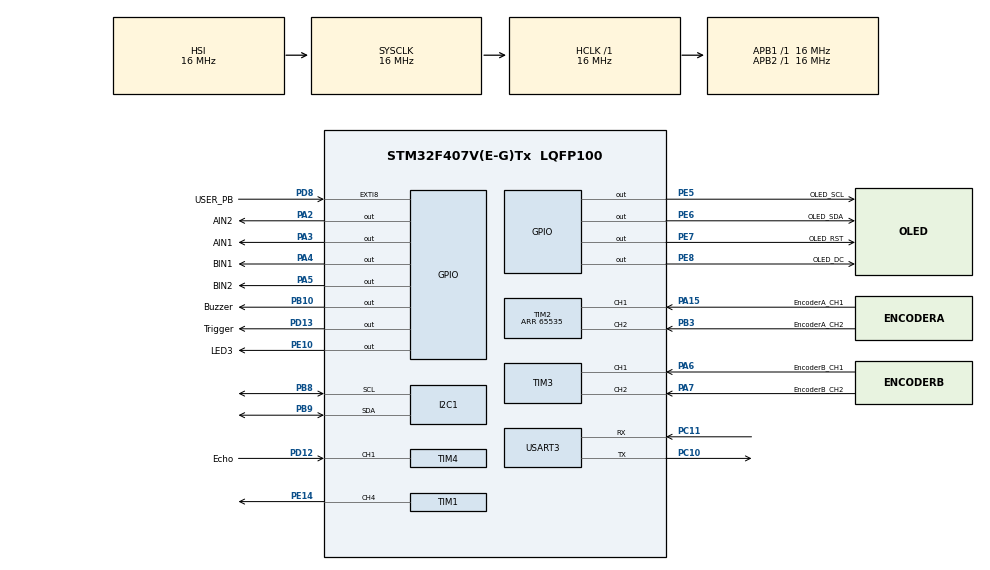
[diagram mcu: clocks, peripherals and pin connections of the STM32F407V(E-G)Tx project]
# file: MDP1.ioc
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FREERTOS.Tasks01=defaultTask,24,128,StartDefaultTask,Default,NULL,Dynamic,NULL,NULL;motorTask,8,128,StartMotorTask,Default,NULL,Dynamic,NULL,NULL;OLEDTask,8,128,StartOLEDTask,Default,NULL,Dynamic,NULL,NULL;gyroTask,8,128,StartGyroTask,Default,NULL,Dynamic,NULL,NULL;communicateTask,8,128,StartCommunicateTask,Default,NULL,Dynamic,NULL,NULL;encoderRTask,8,128,StartEncoderRTask,Default,NULL,Dynamic,NULL,NULL;encoderLTask,8,128,StartEncoderLTask,Default,NULL,Dynamic,NULL,NULL;testATask,8,128,TestTask,Default,NULL,Dynamic,NULL,NULL
FREERTOS.configUSE_NEWLIB_REENTRANT=1
Mcu.Family=STM32F4
Mcu.Name=STM32F407V(E-G)Tx
Mcu.Package=LQFP100
NVIC.PriorityGroup=NVIC_PRIORITYGROUP_4
NVIC.RCC_IRQn=true\:5\:0\:false\:false\:true\:true\:true\:false\:true
NVIC.TIM1_BRK_TIM9_IRQn=true\:5\:0\:false\:false\:true\:false\:true\:true\:true
NVIC.TIM1_UP_TIM10_IRQn=true\:5\:0\:false\:false\:true\:false\:true\:true\:true
NVIC.TIM4_IRQn=true\:5\:0\:false\:false\:true\:true\:true\:true\:true
NVIC.TIM8_TRG_COM_TIM14_IRQn=true\:5\:0\:false\:false\:true\:false\:true\:true\:true
NVIC.USART3_IRQn=true\:5\:0\:false\:false\:true\:true\:true\:true\:true
PA15.GPIO_Label=EncoderA_CH1
PA15.Signal=S_TIM2_CH1_ETR
PA2.GPIO_Label=AIN2
PA2.GPIO_Speed=GPIO_SPEED_FREQ_HIGH
PA2.PinState=GPIO_PIN_RESET
PA2.Signal=GPIO_Output
PA3.GPIO_Label=AIN1
PA3.GPIO_Speed=GPIO_SPEED_FREQ_HIGH
PA3.Signal=GPIO_Output
PA4.GPIO_Label=BIN1
PA4.GPIO_Speed=GPIO_SPEED_FREQ_HIGH
PA4.Signal=GPIO_Output
PA5.GPIO_Label=BIN2
PA5.GPIO_Speed=GPIO_SPEED_FREQ_HIGH
PA5.Signal=GPIO_Output
PA6.GPIO_Label=EncoderB_CH1
PA6.Signal=S_TIM3_CH1
PA7.GPIO_Label=EncoderB_CH2
PA7.Signal=S_TIM3_CH2
PB10.GPIO_Label=Buzzer
PB10.Signal=GPIO_Output
PB3.GPIO_Label=EncoderA_CH2
PB3.Signal=S_TIM2_CH2
PB8.Mode=I2C
PB8.Signal=I2C1_SCL
PB9.Mode=I2C
PB9.Signal=I2C1_SDA
PC10.Mode=Asynchronous
PC10.Signal=USART3_TX
PC11.Mode=Asynchronous
PC11.Signal=USART3_RX
PC6.GPIO_Label=PWMA
PC6.Signal=S_TIM8_CH1
PC7.GPIO_Label=PWMB
PC7.Signal=S_TIM8_CH2
PD12.GPIO_Label=Echo
PD12.Signal=S_TIM4_CH1
PD13.GPIO_Label=Trigger
PD13.Signal=GPIO_Output
PD8.GPIO_Label=USER_PB
PD8.Signal=GPXTI8
PE10.GPIO_Label=LED3
PE10.Signal=GPIO_Output
PE14.Signal=S_TIM1_CH4
PE5.GPIO_Label=OLED_SCL
PE5.Signal=GPIO_Output
PE6.GPIO_Label=OLED_SDA
PE6.Signal=GPIO_Output
PE7.GPIO_Label=OLED_RST
PE7.Signal=GPIO_Output
PE8.GPIO_Label=OLED_DC
PE8.Signal=GPIO_Output
PH0-OSC_IN.Mode=HSE-External-Oscillator
PH0-OSC_IN.Signal=RCC_OSC_IN
PH1-OSC_OUT.Mode=HSE-External-Oscillator
PH1-OSC_OUT.Signal=RCC_OSC_OUT
ProjectManager.HeapSize=0x200
ProjectManager.StackSize=0x400
ProjectManager.TargetToolchain=STM32CubeIDE
RCC.AHBFreq_Value=16000000
RCC.APB1Freq_Value=16000000
RCC.APB2Freq_Value=16000000
RCC.CortexFreq_Value=16000000
RCC.HSE_VALUE=25000000
RCC.HSI_VALUE=16000000
RCC.LSE_VALUE=32768
RCC.SYSCLKFreq_VALUE=16000000
RCC.VCOOutputFreq_Value=192000000
SH.S_TIM1_CH4.0=TIM1_CH4,PWM Generation4 CH4
SH.S_TIM2_CH1_ETR.0=TIM2_CH1,Encoder_Interface
SH.S_TIM2_CH2.0=TIM2_CH2,Encoder_Interface
SH.S_TIM3_CH1.0=TIM3_CH1,Encoder_Interface
SH.S_TIM3_CH2.0=TIM3_CH2,Encoder_Interface
SH.S_TIM4_CH1.0=TIM4_CH1,Input_Capture1_from_TI1
SH.S_TIM8_CH1.0=TIM8_CH1
SH.S_TIM8_CH2.0=TIM8_CH2
TIM1.AutoReloadPreload=TIM_AUTORELOAD_PRELOAD_ENABLE
TIM1.Channel-PWM\ Generation4\ CH4=TIM_CHANNEL_4
TIM1.Period=1000
TIM1.Prescaler=160
TIM2.EncoderMode=TIM_ENCODERMODE_TI12
TIM2.IC1Filter=10
TIM2.IC2Filter=10
TIM2.Period=65535
TIM3.EncoderMode=TIM_ENCODERMODE_TI12
TIM3.IC1Filter=10
TIM3.IC2Filter=10
TIM4.Channel-Input_Capture1_from_TI1=TIM_CHANNEL_1
TIM8.Channel-PWM\ Generation1\ No\ Output=TIM_CHANNEL_1
TIM8.Channel-PWM\ Generation2\ No\ Output=TIM_CHANNEL_2
TIM8.Period=7199
USART3.VirtualMode=VM_ASYNC
VP_FREERTOS_VS_CMSIS_V2.Mode=CMSIS_V2
VP_TIM1_VS_ClockSourceINT.Mode=Internal
VP_TIM8_VS_ClockSourceINT.Mode=Internal
VP_TIM8_VS_no_output1.Mode=PWM Generation1 No Output
VP_TIM8_VS_no_output2.Mode=PWM Generation2 No Output
board=custom

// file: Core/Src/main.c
/* USER CODE BEGIN Header */
/**
 ******************************************************************************
 * @file           : main.c
 * @brief          : Main program body
 ******************************************************************************
 * @attention
 *
 * Copyright (c) 2023 STMicroelectronics.
 * All rights reserved.
 *
 * This software is licensed under terms that can be found in the LICENSE file
 * in the root directory of this software component.
 * If no LICENSE file comes with this software, it is provided AS-IS.
 *
 ******************************************************************************
 */
/* USER CODE END Header */
#include "main.h"
#include "cmsis_os.h"

/* USER CODE BEGIN PD */
#define SERVOCENTER 150
#define SERVORIGHT 221
#define SERVOLEFT 103
/* USER CODE END PD */

I2C_HandleTypeDef hi2c1;

TIM_HandleTypeDef htim1;
TIM_HandleTypeDef htim2;
TIM_HandleTypeDef htim3;
TIM_HandleTypeDef htim4;
TIM_HandleTypeDef htim8;

UART_HandleTypeDef huart3;

/* Definitions for defaultTask */
osThreadId_t defaultTaskHandle;
const osThreadAttr_t defaultTask_attributes = {
		.name = "defaultTask",
		.stack_size = 128 * 4,
		.priority = (osPriority_t) osPriorityNormal,
};
/* Definitions for motorTask */
osThreadId_t motorTaskHandle;
const osThreadAttr_t motorTask_attributes = {
		.name = "motorTask",
		.stack_size = 128 * 4,
		.priority = (osPriority_t) osPriorityLow,
};
/* Definitions for OLEDTask */
osThreadId_t OLEDTaskHandle;
const osThreadAttr_t OLEDTask_attributes = {
		.name = "OLEDTask",
		.stack_size = 128 * 4,
		.priority = (osPriority_t) osPriorityLow,
};
/* Definitions for gyroTask */
osThreadId_t gyroTaskHandle;
const osThreadAttr_t gyroTask_attributes = {
		.name = "gyroTask",
		.stack_size = 128 * 4,
		.priority = (osPriority_t) osPriorityLow,
};
/* Definitions for communicateTask */
osThreadId_t communicateTaskHandle;
const osThreadAttr_t communicateTask_attributes = {
		.name = "communicateTask",
		.stack_size = 128 * 4,
		.priority = (osPriority_t) osPriorityLow,
};
/* Definitions for encoderRTask */
osThreadId_t encoderRTaskHandle;
const osThreadAttr_t encoderRTask_attributes = {
		.name = "encoderRTask",
		.stack_size = 128 * 4,
		.priority = (osPriority_t) osPriorityLow,
};
/* Definitions for encoderLTask */
osThreadId_t encoderLTaskHandle;
const osThreadAttr_t encoderLTask_attributes = {
		.name = "encoderLTask",
		.stack_size = 128 * 4,
		.priority = (osPriority_t) osPriorityLow,
};
/* Definitions for testATask */
osThreadId_t testATaskHandle;
const osThreadAttr_t testATask_attributes = {
		.name = "testATask",
		.stack_size = 128 * 4,
		.priority = (osPriority_t) osPriorityLow,
};

void SystemClock_Config(void);
static void MX_GPIO_Init(void);
static void MX_I2C1_Init(void);
static void MX_TIM1_Init(void);
static void MX_TIM2_Init(void);
static void MX_TIM3_Init(void);
static void MX_TIM4_Init(void);
static void MX_TIM8_Init(void);
static void MX_USART3_UART_Init(void);
void StartDefaultTask(void *argument);
void StartMotorTask(void *argument);
void StartOLEDTask(void *argument);
void StartGyroTask(void *argument);
void StartCommunicateTask(void *argument);
void StartEncoderRTask(void *argument);
void StartEncoderLTask(void *argument);
void TestTask(void *argument);

/* USER CODE BEGIN 0 */
// communication
uint8_t aRxBuffer[5] = { 0 };
int flagDone = 0;
int magnitude = 0;

// movement
uint16_t pwmVal_servo = SERVOCENTER;
uint16_t pwmVal_R = 0;
uint16_t pwmVal_L = 0;
int times_acceptable = 0;
int e_brake = 0;
//int stopped = 0;

// encoder
int32_t rightEncoderVal = 0, leftEncoderVal = 0;
int32_t rightTarget = 0, leftTarget = 0;
double target_angle = 0;

// gyro
double total_angle = 0;
uint8_t gyroBuffer[20];
uint8_t ICMAddress = 0x68;
double error_angle = 0;
// ultrasonic
int Is_First_Captured = 0;
int32_t IC_Val1 = 0;
int32_t IC_Val2 = 0;
uint16_t Difference = 0;
uint16_t uDistance = 0;
int k=0;
/* USER CODE END 0 */

int main(void)
{

	/* MCU Configuration--------------------------------------------------------*/

	/* Reset of all peripherals, Initializes the Flash interface and the Systick. */
	HAL_Init();

	/* Configure the system clock */
	SystemClock_Config();

	/* Initialize all configured peripherals */
	MX_GPIO_Init();
	MX_I2C1_Init();
	MX_TIM1_Init();
	MX_TIM2_Init();
	MX_TIM3_Init();
	MX_TIM4_Init();
	MX_TIM8_Init();
	MX_USART3_UART_Init();
	/* USER CODE BEGIN 2 */
	OLED_Init();
	HAL_UART_Receive_IT(&huart3, (uint8_t*) aRxBuffer, 5);
	/* USER CODE END 2 */

	/* Init scheduler */
	osKernelInitialize();

	/* Create the thread(s) */
	/* creation of defaultTask */
	defaultTaskHandle = osThreadNew(StartDefaultTask, NULL, &defaultTask_attributes);

	/* creation of motorTask */
	motorTaskHandle = osThreadNew(StartMotorTask, NULL, &motorTask_attributes);

	/* creation of OLEDTask */
	OLEDTaskHandle = osThreadNew(StartOLEDTask, NULL, &OLEDTask_attributes);

	/* creation of gyroTask */
	gyroTaskHandle = osThreadNew(StartGyroTask, NULL, &gyroTask_attributes);

	/* creation of communicateTask */
	communicateTaskHandle = osThreadNew(StartCommunicateTask, NULL, &communicateTask_attributes);

	/* creation of encoderRTask */
	encoderRTaskHandle = osThreadNew(StartEncoderRTask, NULL, &encoderRTask_attributes);

	/* creation of encoderLTask */
	encoderLTaskHandle = osThreadNew(StartEncoderLTask, NULL, &encoderLTask_attributes);

	/* creation of testATask */
	testATaskHandle = osThreadNew(TestTask, NULL, &testATask_attributes);

	/* Start scheduler */
	osKernelStart();

	/* We should never get here as control is now taken by the scheduler */
	/* Infinite loop */
	while (1) {

	}
}

void SystemClock_Config(void)
{
	RCC_OscInitTypeDef RCC_OscInitStruct = {0};
	RCC_ClkInitTypeDef RCC_ClkInitStruct = {0};

	/** Configure the main internal regulator output voltage
	 */
	__HAL_RCC_PWR_CLK_ENABLE();
	__HAL_PWR_VOLTAGESCALING_CONFIG(PWR_REGULATOR_VOLTAGE_SCALE1);

	/** Initializes the RCC Oscillators according to the specified parameters
	 * in the RCC_OscInitTypeDef structure.
	 */
	RCC_OscInitStruct.OscillatorType = RCC_OSCILLATORTYPE_HSI;
	RCC_OscInitStruct.HSIState = RCC_HSI_ON;
	RCC_OscInitStruct.HSICalibrationValue = RCC_HSICALIBRATION_DEFAULT;
	RCC_OscInitStruct.PLL.PLLState = RCC_PLL_NONE;
	if (HAL_RCC_OscConfig(&RCC_OscInitStruct) != HAL_OK)
	{
		Error_Handler();
	}

	/** Initializes the CPU, AHB and APB buses clocks
	 */
	RCC_ClkInitStruct.ClockType = RCC_CLOCKTYPE_HCLK|RCC_CLOCKTYPE_SYSCLK
			|RCC_CLOCKTYPE_PCLK1|RCC_CLOCKTYPE_PCLK2;
	RCC_ClkInitStruct.SYSCLKSource = RCC_SYSCLKSOURCE_HSI;
	RCC_ClkInitStruct.AHBCLKDivider = RCC_SYSCLK_DIV1;
	RCC_ClkInitStruct.APB1CLKDivider = RCC_HCLK_DIV1;
	RCC_ClkInitStruct.APB2CLKDivider = RCC_HCLK_DIV1;

	if (HAL_RCC_ClockConfig(&RCC_ClkInitStruct, FLASH_LATENCY_0) != HAL_OK)
	{
		Error_Handler();
	}
}

static void MX_I2C1_Init(void) //For Gyro
{

	hi2c1.Instance = I2C1;
	hi2c1.Init.ClockSpeed = 100000;
	hi2c1.Init.DutyCycle = I2C_DUTYCYCLE_2;
	hi2c1.Init.OwnAddress1 = 0;
	hi2c1.Init.AddressingMode = I2C_ADDRESSINGMODE_7BIT;
	hi2c1.Init.DualAddressMode = I2C_DUALADDRESS_DISABLE;
	hi2c1.Init.OwnAddress2 = 0;
	hi2c1.Init.GeneralCallMode = I2C_GENERALCALL_DISABLE;
	hi2c1.Init.NoStretchMode = I2C_NOSTRETCH_DISABLE;
	if (HAL_I2C_Init(&hi2c1) != HAL_OK)
	{
		Error_Handler();
	}

}

static void MX_TIM1_Init(void) // For Servo
{

	TIM_ClockConfigTypeDef sClockSourceConfig = {0};
	TIM_MasterConfigTypeDef sMasterConfig = {0};
	TIM_OC_InitTypeDef sConfigOC = {0};
	TIM_BreakDeadTimeConfigTypeDef sBreakDeadTimeConfig = {0};

	htim1.Instance = TIM1;
	htim1.Init.Prescaler = 160;
	htim1.Init.CounterMode = TIM_COUNTERMODE_UP;
	htim1.Init.Period = 1000;
	htim1.Init.ClockDivision = TIM_CLOCKDIVISION_DIV1;
	htim1.Init.RepetitionCounter = 0;
	htim1.Init.AutoReloadPreload = TIM_AUTORELOAD_PRELOAD_ENABLE;
	if (HAL_TIM_Base_Init(&htim1) != HAL_OK)
	{
		Error_Handler();
	}
	sClockSourceConfig.ClockSource = TIM_CLOCKSOURCE_INTERNAL;
	if (HAL_TIM_ConfigClockSource(&htim1, &sClockSourceConfig) != HAL_OK)
	{
		Error_Handler();
	}
	if (HAL_TIM_PWM_Init(&htim1) != HAL_OK)
	{
		Error_Handler();
	}
	sMasterConfig.MasterOutputTrigger = TIM_TRGO_RESET;
	sMasterConfig.MasterSlaveMode = TIM_MASTERSLAVEMODE_DISABLE;
	if (HAL_TIMEx_MasterConfigSynchronization(&htim1, &sMasterConfig) != HAL_OK)
	{
		Error_Handler();
	}
	sConfigOC.OCMode = TIM_OCMODE_PWM1;
	sConfigOC.Pulse = 0;
	sConfigOC.OCPolarity = TIM_OCPOLARITY_HIGH;
	sConfigOC.OCFastMode = TIM_OCFAST_DISABLE;
	sConfigOC.OCIdleState = TIM_OCIDLESTATE_RESET;
	sConfigOC.OCNIdleState = TIM_OCNIDLESTATE_RESET;
	if (HAL_TIM_PWM_ConfigChannel(&htim1, &sConfigOC, TIM_CHANNEL_4) != HAL_OK)
	{
		Error_Handler();
	}
	sBreakDeadTimeConfig.OffStateRunMode = TIM_OSSR_DISABLE;
	sBreakDeadTimeConfig.OffStateIDLEMode = TIM_OSSI_DISABLE;
	sBreakDeadTimeConfig.LockLevel = TIM_LOCKLEVEL_OFF;
	sBreakDeadTimeConfig.DeadTime = 0;
	sBreakDeadTimeConfig.BreakState = TIM_BREAK_DISABLE;
	sBreakDeadTimeConfig.BreakPolarity = TIM_BREAKPOLARITY_HIGH;
	sBreakDeadTimeConfig.AutomaticOutput = TIM_AUTOMATICOUTPUT_DISABLE;
	if (HAL_TIMEx_ConfigBreakDeadTime(&htim1, &sBreakDeadTimeConfig) != HAL_OK)
	{
		Error_Handler();
	}
	HAL_TIM_MspPostInit(&htim1);

}

static void MX_TIM2_Init(void) // For L encoder
{

	TIM_Encoder_InitTypeDef sConfig = {0};
	TIM_MasterConfigTypeDef sMasterConfig = {0};

	htim2.Instance = TIM2;
	htim2.Init.Prescaler = 0;
	htim2.Init.CounterMode = TIM_COUNTERMODE_UP;
	htim2.Init.Period = 65535;
	htim2.Init.ClockDivision = TIM_CLOCKDIVISION_DIV1;
	htim2.Init.AutoReloadPreload = TIM_AUTORELOAD_PRELOAD_DISABLE;
	sConfig.EncoderMode = TIM_ENCODERMODE_TI12;
	sConfig.IC1Polarity = TIM_ICPOLARITY_RISING;
	sConfig.IC1Selection = TIM_ICSELECTION_DIRECTTI;
	sConfig.IC1Prescaler = TIM_ICPSC_DIV1;
	sConfig.IC1Filter = 10;
	sConfig.IC2Polarity = TIM_ICPOLARITY_RISING;
	sConfig.IC2Selection = TIM_ICSELECTION_DIRECTTI;
	sConfig.IC2Prescaler = TIM_ICPSC_DIV1;
	sConfig.IC2Filter = 10;
	if (HAL_TIM_Encoder_Init(&htim2, &sConfig) != HAL_OK)
	{
		Error_Handler();
	}
	sMasterConfig.MasterOutputTrigger = TIM_TRGO_RESET;
	sMasterConfig.MasterSlaveMode = TIM_MASTERSLAVEMODE_DISABLE;
	if (HAL_TIMEx_MasterConfigSynchronization(&htim2, &sMasterConfig) != HAL_OK)
	{
		Error_Handler();
	}

}

static void MX_TIM3_Init(void) //For R encoder
{

	TIM_Encoder_InitTypeDef sConfig = {0};
	TIM_MasterConfigTypeDef sMasterConfig = {0};

	htim3.Instance = TIM3;
	htim3.Init.Prescaler = 0;
	htim3.Init.CounterMode = TIM_COUNTERMODE_UP;
	htim3.Init.Period = 65535;
	htim3.Init.ClockDivision = TIM_CLOCKDIVISION_DIV1;
	htim3.Init.AutoReloadPreload = TIM_AUTORELOAD_PRELOAD_DISABLE;
	sConfig.EncoderMode = TIM_ENCODERMODE_TI12;
	sConfig.IC1Polarity = TIM_ICPOLARITY_RISING;
	sConfig.IC1Selection = TIM_ICSELECTION_DIRECTTI;
	sConfig.IC1Prescaler = TIM_ICPSC_DIV1;
	sConfig.IC1Filter = 10;
	sConfig.IC2Polarity = TIM_ICPOLARITY_RISING;
	sConfig.IC2Selection = TIM_ICSELECTION_DIRECTTI;
	sConfig.IC2Prescaler = TIM_ICPSC_DIV1;
	sConfig.IC2Filter = 10;
	if (HAL_TIM_Encoder_Init(&htim3, &sConfig) != HAL_OK)
	{
		Error_Handler();
	}
	sMasterConfig.MasterOutputTrigger = TIM_TRGO_RESET;
	sMasterConfig.MasterSlaveMode = TIM_MASTERSLAVEMODE_DISABLE;
	if (HAL_TIMEx_MasterConfigSynchronization(&htim3, &sMasterConfig) != HAL_OK)
	{
		Error_Handler();
	}

}

static void MX_TIM4_Init(void) // For US
{

	TIM_MasterConfigTypeDef sMasterConfig = {0};
	TIM_IC_InitTypeDef sConfigIC = {0};

	htim4.Instance = TIM4;
	htim4.Init.Prescaler = 0;
	htim4.Init.CounterMode = TIM_COUNTERMODE_UP;
	htim4.Init.Period = 65535;
	htim4.Init.ClockDivision = TIM_CLOCKDIVISION_DIV1;
	htim4.Init.AutoReloadPreload = TIM_AUTORELOAD_PRELOAD_DISABLE;
	if (HAL_TIM_IC_Init(&htim4) != HAL_OK)
	{
		Error_Handler();
	}
	sMasterConfig.MasterOutputTrigger = TIM_TRGO_RESET;
	sMasterConfig.MasterSlaveMode = TIM_MASTERSLAVEMODE_DISABLE;
	if (HAL_TIMEx_MasterConfigSynchronization(&htim4, &sMasterConfig) != HAL_OK)
	{
		Error_Handler();
	}
	sConfigIC.ICPolarity = TIM_INPUTCHANNELPOLARITY_RISING;
	sConfigIC.ICSelection = TIM_ICSELECTION_DIRECTTI;
	sConfigIC.ICPrescaler = TIM_ICPSC_DIV1;
	sConfigIC.ICFilter = 0;
	if (HAL_TIM_IC_ConfigChannel(&htim4, &sConfigIC, TIM_CHANNEL_1) != HAL_OK)
	{
		Error_Handler();
	}

}

static void MX_TIM8_Init(void) // For motor
{

	TIM_ClockConfigTypeDef sClockSourceConfig = {0};
	TIM_MasterConfigTypeDef sMasterConfig = {0};
	TIM_OC_InitTypeDef sConfigOC = {0};
	TIM_BreakDeadTimeConfigTypeDef sBreakDeadTimeConfig = {0};

	htim8.Instance = TIM8;
	htim8.Init.Prescaler = 0;
	htim8.Init.CounterMode = TIM_COUNTERMODE_UP;
	htim8.Init.Period = 7199;
	htim8.Init.ClockDivision = TIM_CLOCKDIVISION_DIV1;
	htim8.Init.RepetitionCounter = 0;
	htim8.Init.AutoReloadPreload = TIM_AUTORELOAD_PRELOAD_DISABLE;
	if (HAL_TIM_Base_Init(&htim8) != HAL_OK)
	{
		Error_Handler();
	}
	sClockSourceConfig.ClockSource = TIM_CLOCKSOURCE_INTERNAL;
	if (HAL_TIM_ConfigClockSource(&htim8, &sClockSourceConfig) != HAL_OK)
	{
		Error_Handler();
	}
	if (HAL_TIM_PWM_Init(&htim8) != HAL_OK)
	{
		Error_Handler();
	}
	sMasterConfig.MasterOutputTrigger = TIM_TRGO_RESET;
	sMasterConfig.MasterSlaveMode = TIM_MASTERSLAVEMODE_DISABLE;
	if (HAL_TIMEx_MasterConfigSynchronization(&htim8, &sMasterConfig) != HAL_OK)
	{
		Error_Handler();
	}
	sConfigOC.OCMode = TIM_OCMODE_PWM1;
	sConfigOC.Pulse = 0;
	sConfigOC.OCPolarity = TIM_OCPOLARITY_HIGH;
	sConfigOC.OCNPolarity = TIM_OCNPOLARITY_HIGH;
	sConfigOC.OCFastMode = TIM_OCFAST_DISABLE;
	sConfigOC.OCIdleState = TIM_OCIDLESTATE_RESET;
	sConfigOC.OCNIdleState = TIM_OCNIDLESTATE_RESET;
	if (HAL_TIM_PWM_ConfigChannel(&htim8, &sConfigOC, TIM_CHANNEL_1) != HAL_OK)
	{
		Error_Handler();
	}
	if (HAL_TIM_PWM_ConfigChannel(&htim8, &sConfigOC, TIM_CHANNEL_2) != HAL_OK)
	{
		Error_Handler();
	}
	sBreakDeadTimeConfig.OffStateRunMode = TIM_OSSR_DISABLE;
	sBreakDeadTimeConfig.OffStateIDLEMode = TIM_OSSI_DISABLE;
	sBreakDeadTimeConfig.LockLevel = TIM_LOCKLEVEL_OFF;
	sBreakDeadTimeConfig.DeadTime = 0;
	sBreakDeadTimeConfig.BreakState = TIM_BREAK_DISABLE;
	sBreakDeadTimeConfig.BreakPolarity = TIM_BREAKPOLARITY_HIGH;
	sBreakDeadTimeConfig.AutomaticOutput = TIM_AUTOMATICOUTPUT_DISABLE;
	if (HAL_TIMEx_ConfigBreakDeadTime(&htim8, &sBreakDeadTimeConfig) != HAL_OK)
	{
		Error_Handler();
	}

}

static void MX_USART3_UART_Init(void) // For serial plot
{

	huart3.Instance = USART3;
	huart3.Init.BaudRate = 115200;
	huart3.Init.WordLength = UART_WORDLENGTH_8B;
	huart3.Init.StopBits = UART_STOPBITS_1;
	huart3.Init.Parity = UART_PARITY_NONE;
	huart3.Init.Mode = UART_MODE_TX_RX;
	huart3.Init.HwFlowCtl = UART_HWCONTROL_NONE;
	huart3.Init.OverSampling = UART_OVERSAMPLING_16;
	if (HAL_UART_Init(&huart3) != HAL_OK)
	{
		Error_Handler();
	}

}

static void MX_GPIO_Init(void) // For GPIO
{
	GPIO_InitTypeDef GPIO_InitStruct = {0};

	/* GPIO Ports Clock Enable */
	__HAL_RCC_GPIOE_CLK_ENABLE();
	__HAL_RCC_GPIOH_CLK_ENABLE();
	__HAL_RCC_GPIOA_CLK_ENABLE();
	__HAL_RCC_GPIOB_CLK_ENABLE();
	__HAL_RCC_GPIOD_CLK_ENABLE();
	__HAL_RCC_GPIOC_CLK_ENABLE();

	/*Configure GPIO pin Output Level */
	HAL_GPIO_WritePin(GPIOE, OLED_SCL_Pin|OLED_SDA_Pin|OLED_RST_Pin|OLED_DC_Pin
			|LED3_Pin, GPIO_PIN_RESET);

	/*Configure GPIO pin Output Level */
	HAL_GPIO_WritePin(GPIOA, AIN2_Pin|AIN1_Pin|BIN1_Pin|BIN2_Pin, GPIO_PIN_RESET);

	/*Configure GPIO pin Output Level */
	HAL_GPIO_WritePin(Buzzer_GPIO_Port, Buzzer_Pin, GPIO_PIN_RESET);

	/*Configure GPIO pin Output Level */
	HAL_GPIO_WritePin(Trigger_GPIO_Port, Trigger_Pin, GPIO_PIN_RESET);

	/*Configure GPIO pins : OLED_SCL_Pin OLED_SDA_Pin OLED_RST_Pin OLED_DC_Pin
                           LED3_Pin */
	GPIO_InitStruct.Pin = OLED_SCL_Pin|OLED_SDA_Pin|OLED_RST_Pin|OLED_DC_Pin
			|LED3_Pin;
	GPIO_InitStruct.Mode = GPIO_MODE_OUTPUT_PP;
	GPIO_InitStruct.Pull = GPIO_NOPULL;
	GPIO_InitStruct.Speed = GPIO_SPEED_FREQ_LOW;
	HAL_GPIO_Init(GPIOE, &GPIO_InitStruct);

	/*Configure GPIO pins : AIN2_Pin AIN1_Pin BIN1_Pin BIN2_Pin */
	GPIO_InitStruct.Pin = AIN2_Pin|AIN1_Pin|BIN1_Pin|BIN2_Pin;
	GPIO_InitStruct.Mode = GPIO_MODE_OUTPUT_PP;
	GPIO_InitStruct.Pull = GPIO_NOPULL;
	GPIO_InitStruct.Speed = GPIO_SPEED_FREQ_HIGH;
	HAL_GPIO_Init(GPIOA, &GPIO_InitStruct);

	/*Configure GPIO pin : Buzzer_Pin */
	GPIO_InitStruct.Pin = Buzzer_Pin;
	GPIO_InitStruct.Mode = GPIO_MODE_OUTPUT_PP;
	GPIO_InitStruct.Pull = GPIO_NOPULL;
	GPIO_InitStruct.Speed = GPIO_SPEED_FREQ_LOW;
	HAL_GPIO_Init(Buzzer_GPIO_Port, &GPIO_InitStruct);

	/*Configure GPIO pin : USER_PB_Pin */
	GPIO_InitStruct.Pin = USER_PB_Pin;
	GPIO_InitStruct.Mode = GPIO_MODE_IT_RISING;
	GPIO_InitStruct.Pull = GPIO_NOPULL;
	HAL_GPIO_Init(USER_PB_GPIO_Port, &GPIO_InitStruct);

	/*Configure GPIO pin : Trigger_Pin */
	GPIO_InitStruct.Pin = Trigger_Pin;
	GPIO_InitStruct.Mode = GPIO_MODE_OUTPUT_PP;
	GPIO_InitStruct.Pull = GPIO_NOPULL;
	GPIO_InitStruct.Speed = GPIO_SPEED_FREQ_LOW;
	HAL_GPIO_Init(Trigger_GPIO_Port, &GPIO_InitStruct);

}

/* USER CODE BEGIN 4 */
// communication
void HAL_UART_RxCpltCallback(UART_HandleTypeDef *huart) {
	/* to prevent unused argument(s) compilation warning */
	UNUSED(huart);
	HAL_UART_Receive_IT(&huart3, aRxBuffer, 5);
}

// ultrasonic
void delay(uint16_t time) {
	__HAL_TIM_SET_COUNTER(&htim4, 0);
	while (__HAL_TIM_GET_COUNTER (&htim4) < time)
		;
}

void HAL_TIM_IC_CaptureCallback(TIM_HandleTypeDef *htim) {
	if (htim->Channel == HAL_TIM_ACTIVE_CHANNEL_1) {
		if (Is_First_Captured == 0) {
			IC_Val1 = HAL_TIM_ReadCapturedValue(htim, TIM_CHANNEL_1);
			Is_First_Captured = 1;
			__HAL_TIM_SET_CAPTUREPOLARITY(htim, TIM_CHANNEL_1,
					TIM_INPUTCHANNELPOLARITY_FALLING);
		} else if (Is_First_Captured == 1) {
			IC_Val2 = HAL_TIM_ReadCapturedValue(htim, TIM_CHANNEL_1);
			__HAL_TIM_SET_COUNTER(htim, 0);

			if (IC_Val2 > IC_Val1) {
				Difference = IC_Val2 - IC_Val1;
			}

			else if (IC_Val1 > IC_Val2) {
				Difference = (65535 - IC_Val1) + IC_Val2;
			}

			uDistance = Difference * .0343 / 2;

			Is_First_Captured = 0;

			__HAL_TIM_SET_CAPTUREPOLARITY(htim, TIM_CHANNEL_1,
					TIM_INPUTCHANNELPOLARITY_RISING);
			__HAL_TIM_DISABLE_IT(&htim4, TIM_IT_CC1);
		}
	}
}

void HCSR04_Read(void) //Call when u want to get reading from US
{
	HAL_GPIO_WritePin(Trigger_GPIO_Port, Trigger_Pin, GPIO_PIN_SET);
	delay(10);
	HAL_GPIO_WritePin(Trigger_GPIO_Port, Trigger_Pin, GPIO_PIN_RESET);
	__HAL_TIM_ENABLE_IT(&htim4, TIM_IT_CC1);
}

// movement
void moveCarStraight(double distance) {
	distance = distance * 75;
	pwmVal_servo = SERVOCENTER;
	osDelay(300);
	e_brake = 0;
	times_acceptable = 0;
	rightEncoderVal = 75000;
	leftEncoderVal = 75000;
	rightTarget = 75000;
	leftTarget = 75000;
	rightTarget += distance;
	leftTarget += distance;
	while(finishCheck());
	//	if (stopped == 1) {
	//		vTaskResume(ultrasonicTaskHandle);
	//		stopped = 0;
	//	}
}

void moveCarStop() {
	e_brake = 1;
	pwmVal_servo = SERVOCENTER;
	osDelay(300);
}

void moveCarRight(double angle) {
	pwmVal_servo = SERVORIGHT;
	osDelay(300);
	e_brake = 0;
	times_acceptable = 0;
	target_angle -= angle;
	while (finishCheck());
	//	if (stopped == 1) {
	//		vTaskResume(ultrasonicTaskHandle);
	//		stopped = 0;
	//	}
}

void moveCarLeft(double angle) {
	if(angle<0)
		pwmVal_servo = SERVOLEFT+5;
	else
		pwmVal_servo = SERVOLEFT;
	osDelay(300);
	e_brake = 0;
	times_acceptable = 0;
	target_angle += angle;
	while (finishCheck());
	//	if (stopped == 1) {
	//		vTaskResume(ultrasonicTaskHandle);
	//		stopped = 0;
	//	}
}

void moveCarSlideRight(int forward){
	int sign;
	if(forward == 1){
		sign = 1;
	}else{
		sign = -1;
	}
	e_brake = 0;
	times_acceptable=0;

	if (sign>0) moveCarStraight((540/75.19)*sign);
	else moveCarStraight((540/75.19)*sign);

	while(finishCheck());
	osDelay(50); //og 500
	times_acceptable=0;

	if (sign>0) moveCarRight(30*sign);
	else moveCarRight(29*sign);

	while(finishCheck());
	osDelay(50);
	times_acceptable=0;

	if (sign>0) moveCarLeft(30*sign);
	else moveCarLeft(29*sign);

	while(finishCheck());
	osDelay(50); //og 500
}

void moveCarSlideLeft(int forward){
	int sign;
	if(forward == 1){
		sign = 1;
	}else{
		sign = -1;
	}
	e_brake = 0;
	times_acceptable=0;

	if (sign>0) moveCarStraight((560/75.19)*sign); //600,36
	else moveCarStraight((700/75.19)*sign);

	while(finishCheck());
	osDelay(50); //og 500
	times_acceptable=0;

	if (sign>0) moveCarLeft(29*sign);
	else moveCarLeft(29*sign);

	while(finishCheck());
	osDelay(50);
	times_acceptable=0;

	if (sign>0) moveCarRight(29*sign);
	else moveCarRight(29*sign);

	while(finishCheck());
	osDelay(50); //og 500
}

// error correction
int PID_Control(int error, int right) {
	if (right) { //rightMotor
		if (error > 0) { //go forward
			HAL_GPIO_WritePin(GPIOA, BIN1_Pin, GPIO_PIN_SET); // set direction of rotation for wheel B- forward
			HAL_GPIO_WritePin(GPIOA, BIN2_Pin, GPIO_PIN_RESET);
		} else { //go backward
			HAL_GPIO_WritePin(GPIOA, BIN1_Pin, GPIO_PIN_RESET); // set direction of rotation for wheel B - reverse
			HAL_GPIO_WritePin(GPIOA, BIN2_Pin, GPIO_PIN_SET);
		}
	} else { //leftMotor
		if (error > 0) { //go forward
			HAL_GPIO_WritePin(GPIOA, AIN1_Pin, GPIO_PIN_SET); // set direction of rotation for wheel A - forward
			HAL_GPIO_WritePin(GPIOA, AIN2_Pin, GPIO_PIN_RESET);
		} else { //go backward
			HAL_GPIO_WritePin(GPIOA, AIN1_Pin, GPIO_PIN_RESET); // set direction of rotation for wheel A - reverse
			HAL_GPIO_WritePin(GPIOA, AIN2_Pin, GPIO_PIN_SET);
		}
	}

	error = abs(error);
	if (error > 2000) {
		return 3000;
	} else if (error > 500) {
		return 2000;
	} else if (error > 200) {
		return 1400;
	} else if (error > 100) {
		return 1000;
	} else if (error > 2) {
		times_acceptable++;
		return 500;
	} else if (error >= 1) {
		times_acceptable++;
		return 0;
	} else {
		times_acceptable++;
		return 0;
	}
}

int PID_Angle(double errord, int right) {
	int error = (int) (errord * 10);
	if (right) { //rightMotor
		if (error > 0) { //go forward
			HAL_GPIO_WritePin(GPIOA, BIN1_Pin, GPIO_PIN_SET); // set direction of rotation for wheel B- forward
			HAL_GPIO_WritePin(GPIOA, BIN2_Pin, GPIO_PIN_RESET);
		} else { //go backward
			HAL_GPIO_WritePin(GPIOA, BIN1_Pin, GPIO_PIN_RESET); // set direction of rotation for wheel B - reverse
			HAL_GPIO_WritePin(GPIOA, BIN2_Pin, GPIO_PIN_SET);
		}
	} else { //leftMotor
		if (error < 0) { //go forward
			HAL_GPIO_WritePin(GPIOA, AIN1_Pin, GPIO_PIN_SET); // set direction of rotation for wheel A - forward
			HAL_GPIO_WritePin(GPIOA, AIN2_Pin, GPIO_PIN_RESET);
		} else { //go backward
			HAL_GPIO_WritePin(GPIOA, AIN1_Pin, GPIO_PIN_RESET); // set direction of rotation for wheel A - reverse
			HAL_GPIO_WritePin(GPIOA, AIN2_Pin, GPIO_PIN_SET);
		}
	}

	error = abs(error);
	if (error > 300) {
		return 3000;
	} else if (error > 200) {
		return 2000;
	} else if (error > 150) {
		return 1600;
	} else if (error > 100) {
		return 1400;
	} else if (error > 10) {
		return 1000;
	} else if (error >= 2) {
		times_acceptable++;
		return 600;
	} else {
		times_acceptable++;
		return 0;
	}
}

int finishCheck() {
	if (times_acceptable > 20) {
		e_brake = 1;
		pwmVal_L = pwmVal_R = 0;
		leftTarget = leftEncoderVal;
		rightTarget = rightEncoderVal;
		times_acceptable = 0;
		pwmVal_servo = SERVOCENTER;
		osDelay(300);

		return 0;
	}
	return 1;
}

// gyro
void readByte(uint8_t addr, uint8_t *data) {
	gyroBuffer[0] = addr;
	HAL_I2C_Master_Transmit(&hi2c1, ICMAddress << 1, gyroBuffer, 1, 10);
	HAL_I2C_Master_Receive(&hi2c1, ICMAddress << 1, data, 2, 20);
}

void writeByte(uint8_t addr, uint8_t data) {
	gyroBuffer[0] = addr;
	gyroBuffer[1] = data;
	HAL_I2C_Master_Transmit(&hi2c1, ICMAddress << 1, gyroBuffer, 2, 20);
}

void gyroInit() {
	writeByte(0x06, 0x00);
	osDelay(10);
	writeByte(0x03, 0x80);
	osDelay(10);
	writeByte(0x07, 0x07);
	osDelay(10);
	writeByte(0x06, 0x01);
	osDelay(10);
	writeByte(0x7F, 0x20);
	osDelay(10);
	writeByte(0x01, 0x2F);
	osDelay(10);
	writeByte(0x0, 0x00);
	osDelay(10);
	writeByte(0x7F, 0x00);
	osDelay(10);
	writeByte(0x07, 0x00);
	osDelay(10);
}
/* USER CODE END 4 */

void StartDefaultTask(void *argument)
{
	/* USER CODE BEGIN 5 */
	/* Infinite loop */
	for (;;) {
		HAL_GPIO_TogglePin(LED3_GPIO_Port, LED3_Pin);
		osDelay(2000);
	}
	/* USER CODE END 5 */
}

void StartMotorTask(void *argument)
{
	/* USER CODE BEGIN StartMotorTask */
	pwmVal_R = 0;
	pwmVal_L = 0;
	int straightCorrection = 0;
	HAL_TIM_PWM_Start(&htim8, TIM_CHANNEL_1);
	HAL_TIM_PWM_Start(&htim8, TIM_CHANNEL_2);
	HAL_TIM_PWM_Start(&htim1, TIM_CHANNEL_4);
	htim1.Instance->CCR4 = SERVOCENTER; //Centre

	HAL_GPIO_WritePin(GPIOA, BIN1_Pin, GPIO_PIN_SET); // set direction of rotation for wheel B- forward
	HAL_GPIO_WritePin(GPIOA, BIN2_Pin, GPIO_PIN_RESET);
	HAL_GPIO_WritePin(GPIOA, AIN1_Pin, GPIO_PIN_SET); // set direction of rotation for wheel A - forward
	HAL_GPIO_WritePin(GPIOA, AIN2_Pin, GPIO_PIN_RESET);
	osDelay(1000);

	/* Infinite loop */
	for (;;) {
		htim1.Instance->CCR4 = pwmVal_servo;
		error_angle = target_angle - total_angle;

		if (pwmVal_servo < 127) { //106 //TURN LEFT
			pwmVal_R = PID_Angle(error_angle, 1) * 1.072;  //right is master
			pwmVal_L = pwmVal_R * (0.59); //left is slave

			if (error_angle > 0) {
				//go forward
				HAL_GPIO_WritePin(GPIOA, AIN1_Pin, GPIO_PIN_SET); // set direction of rotation for wheel A- forward
				HAL_GPIO_WritePin(GPIOA, AIN2_Pin, GPIO_PIN_RESET);
			} else {
				//go backward
				HAL_GPIO_WritePin(GPIOA, AIN1_Pin, GPIO_PIN_RESET); // set direction of rotation for wheel A - reverse
				HAL_GPIO_WritePin(GPIOA, AIN2_Pin, GPIO_PIN_SET);
			}
		}

		else if (pwmVal_servo > 189) { //230 //TURN RIGHT
			pwmVal_L = PID_Angle(error_angle, 0);
			pwmVal_R = pwmVal_L * (0.59); //right is slave

			if (error_angle < 0) {
				//go forward
				HAL_GPIO_WritePin(GPIOA, BIN1_Pin, GPIO_PIN_SET); // set direction of rotation for wheel B- forward
				HAL_GPIO_WritePin(GPIOA, BIN2_Pin, GPIO_PIN_RESET);
			} else {
				//go backward
				HAL_GPIO_WritePin(GPIOA, BIN1_Pin, GPIO_PIN_RESET); // set direction of rotation for wheel B - reverse
				HAL_GPIO_WritePin(GPIOA, BIN2_Pin, GPIO_PIN_SET);
			}
		}

		else {

			pwmVal_R = PID_Control(leftTarget - leftEncoderVal, 0) * 1.072;
			if (abs(leftTarget - leftEncoderVal)
					> abs(rightTarget - rightEncoderVal)) {
				straightCorrection++;
			} else {
				straightCorrection--;
			}
			if (abs(leftTarget - leftEncoderVal) < 100) {
				straightCorrection = 0;
			}
			pwmVal_L = PID_Control(rightTarget - rightEncoderVal, 1)
									+ straightCorrection;

			if ((leftTarget - leftEncoderVal) < 0) {
				if (error_angle > 5) { // if turn left, 106. right 230. left +. right -.
					pwmVal_servo = ((19 * 5) / 5 + SERVOCENTER);
				} else if (error_angle < -5) {
					pwmVal_servo = ((-19 * 5) / 5 + SERVOCENTER);
				} else {
					pwmVal_servo = ((19 * error_angle) / 5 + SERVOCENTER);
				}

			} else {
				if (error_angle > 5) { // if turn left, 106. right 230. left +. right -.
					pwmVal_servo = ((-19 * 5) / 5 + SERVOCENTER);
				} else if (error_angle < -5) {
					pwmVal_servo = ((19 * 5) / 5 + SERVOCENTER);
				} else {
					pwmVal_servo = ((-19 * error_angle) / 5 + SERVOCENTER);
				}
			}

			//line correction equation is pwmVal = (19*error)/5 + SERVOCENTER
		}

		if (e_brake) {
			pwmVal_L = pwmVal_R = 0;
			leftTarget = leftEncoderVal;
			rightTarget = rightEncoderVal;
		}

		__HAL_TIM_SetCompare(&htim8,TIM_CHANNEL_1,pwmVal_L);
		__HAL_TIM_SetCompare(&htim8,TIM_CHANNEL_2,pwmVal_R);
		osDelay(1);

		if (times_acceptable > 1000) {
			times_acceptable = 1001;
		}

	}
	/* USER CODE END StartMotorTask */
}

void StartOLEDTask(void *argument)
{
	/* USER CODE BEGIN StartOLEDTask */
	uint8_t usVal[20] = { 0 };
	uint8_t gyroVal[20] = { 0 };
	uint8_t command[20] = { 0 };
	for (;;) {
		sprintf(usVal, "Distance: %d \0", (int) uDistance);
		OLED_ShowString(0, 10, usVal);

		int decimals = abs((int) ((error_angle - (int) (error_angle)) * 1000));
		sprintf(gyroVal, "EGyro: %d.%d \0", (int) error_angle, decimals);
		OLED_ShowString(0, 20, gyroVal);

		decimals = abs((int) ((total_angle - (int) (total_angle)) * 1000));
		sprintf(gyroVal, "TGyro: %d.%d \0", (int) total_angle, decimals);
		OLED_ShowString(0, 30, gyroVal);

		sprintf(command, "C: %c%c%c%c%c \0", aRxBuffer[0], aRxBuffer[1],
				aRxBuffer[2], aRxBuffer[3], aRxBuffer[4]);
		OLED_ShowString(0, 40, command);

		OLED_Refresh_Gram();
		osDelay(100);
	}
	/* USER CODE END StartOLEDTask */
}

void StartGyroTask(void *argument)
{
	/* USER CODE BEGIN StartGyroTask */
	gyroInit();
	uint8_t val[2] = { 0, 0 };

	int16_t angular_speed = 0;

	uint32_t tick = 0;
	double offset = 0;
	double trash = 0;
	int i = 0;
	//callibration
	while (i < 100) {
		osDelay(50);
		readByte(0x37, val);
		angular_speed = (val[0] << 8) | val[1];
		trash += (double) ((double) angular_speed)
								* ((HAL_GetTick() - tick) / 16400.0);
		offset += angular_speed;
		tick = HAL_GetTick();
		i++;
	}
	k=1;
	offset = offset / i;

	tick = HAL_GetTick();
	/* Infinite loop */
	for (;;) {

		osDelay(100);
		readByte(0x37, val);
		angular_speed = (val[0] << 8) | val[1];
		total_angle += (double) ((double) angular_speed - offset)
								* ((HAL_GetTick() - tick) / 16400.0);
		i -= angular_speed;
		tick = HAL_GetTick();
		i++;
	}
	/* USER CODE END StartGyroTask */
}

void StartCommunicateTask(void *argument)
{
	/* USER CODE BEGIN StartCommunicateTask */
	char ack = 'A';

	aRxBuffer[0] = 'E'; // will store key
	aRxBuffer[1] = 'M'; // stores direction
	aRxBuffer[2] = 'P'; // 2, 3, 4 will store the magnitude, angle ??
	aRxBuffer[3] = 'T';
	aRxBuffer[4] = 'Y';

	/* Infinite loop */
	for (;;) {
		magnitude = 0;
		if (aRxBuffer[0] == 'P'||(aRxBuffer[0] == 'G' && aRxBuffer[1] == 'Y' && aRxBuffer[2] == 'R'
				&& aRxBuffer[3] == 'O' && aRxBuffer[4] == 'R')
				|| (aRxBuffer[0] == 'S' || aRxBuffer[0] == 'R'
						|| aRxBuffer[0] == 'L'|| aRxBuffer[0] == 'J'|| aRxBuffer[0] == 'K')
						&& (aRxBuffer[1] == 'F' || aRxBuffer[1] == 'B')
						&& (0 <= aRxBuffer[2] - '0' <= 9)
						&& (0 <= aRxBuffer[3] - '0' <= 9)
						&& (0 <= aRxBuffer[4] - '0' <= 9)) {

			magnitude = ((int) (aRxBuffer[2]) - 48) * 100
					+ ((int) (aRxBuffer[3]) - 48) * 10
					+ ((int) (aRxBuffer[4]) - 48);

			if (aRxBuffer[1] == 'B') {
				magnitude *= -1;
			}

			osDelay(300);
			switch (aRxBuffer[0]) {
			case 'S':
				moveCarStraight(magnitude);
				flagDone = 1;
				aRxBuffer[0] = 'D';
				aRxBuffer[1] = 'O';
				aRxBuffer[2] = 'N';
				aRxBuffer[3] = 'E';
				aRxBuffer[4] = '!';
				osDelay(100);
				break;
			case 'R':
				moveCarRight(magnitude);
				flagDone = 1;
				aRxBuffer[0] = 'D';
				aRxBuffer[1] = 'O';
				aRxBuffer[2] = 'N';
				aRxBuffer[3] = 'E';
				aRxBuffer[4] = '!';
				osDelay(100);
				break;
			case 'L':
				moveCarLeft(magnitude);
				flagDone = 1;
				aRxBuffer[0] = 'D';
				aRxBuffer[1] = 'O';
				aRxBuffer[2] = 'N';
				aRxBuffer[3] = 'E';
				aRxBuffer[4] = '!';
				osDelay(100);
				break;
			case 'J':
				moveCarSlideLeft(magnitude);
				flagDone = 1;
				aRxBuffer[0] = 'D';
				aRxBuffer[1] = 'O';
				aRxBuffer[2] = 'N';
				aRxBuffer[3] = 'E';
				aRxBuffer[4] = '!';
				osDelay(100);
				break;
			case 'K':
				moveCarSlideRight(magnitude);
				flagDone = 1;
				aRxBuffer[0] = 'D';
				aRxBuffer[1] = 'O';
				aRxBuffer[2] = 'N';
				aRxBuffer[3] = 'E';
				aRxBuffer[4] = '!';
				osDelay(100);
				break;
			case 'P':
				flagDone = 1;
				aRxBuffer[0] = 'D';
				aRxBuffer[1] = 'O';
				aRxBuffer[2] = 'N';
				aRxBuffer[3] = 'E';
				aRxBuffer[4] = '!';
				osDelay(100);
				break;
			case 'G':
				NVIC_SystemReset();
				break;
			}
		}

		if (flagDone == 1) {
			osDelay(300);
			HAL_UART_Transmit(&huart3, (uint8_t*) &ack, 1, 0xFFFF);
			flagDone = 0;
		}

		osDelay(100);
	}
	/* USER CODE END StartCommunicateTask */
}

void StartEncoderRTask(void *argument)
{
	/* USER CODE BEGIN StartEncoderRTask */
	/* Infinite loop */
	HAL_TIM_Encoder_Start(&htim3, TIM_CHANNEL_ALL);
	int cnt1;
	int dirR = 1;
	int diff;
	uint32_t tick = HAL_GetTick();
	/* Infinite loop */
	for (;;) {
		if (HAL_GetTick() - tick > 10L) {
			cnt1 = __HAL_TIM_GET_COUNTER(&htim3);
			if (cnt1 > 32000) {
				dirR = 1;
				diff = (65536 - cnt1);
			} else {
				dirR = -1;
				diff = cnt1;
			}

			if (dirR == 1) {
				rightEncoderVal -= diff;
			} else {
				rightEncoderVal += diff;
			}

			__HAL_TIM_SET_COUNTER(&htim3, 0);

			tick = HAL_GetTick();
		}
	}
	/* USER CODE END StartEncoderRTask */
}

void StartEncoderLTask(void *argument)
{
	/* USER CODE BEGIN StartEncoderLTask */
	HAL_TIM_Encoder_Start(&htim2, TIM_CHANNEL_ALL);
	int cnt2;
	int dirL = 1;
	int diff;
	uint32_t tick = HAL_GetTick();
	/* Infinite loop */
	for (;;) {
		if (HAL_GetTick() - tick > 10L) {
			cnt2 = __HAL_TIM_GET_COUNTER(&htim2);

			if (cnt2 > 32000) {
				dirL = 1;
				diff = (65536 - cnt2);
			} else {
				dirL = -1;
				diff = cnt2;
			}
			if (dirL == 1) {
				leftEncoderVal += diff;
			} else {
				leftEncoderVal -= diff;
			}

			__HAL_TIM_SET_COUNTER(&htim2, 0);

			tick = HAL_GetTick();
		}
	}

	/* USER CODE END StartEncoderLTask */
}

void TestTask(void *argument)
{
	/* USER CODE BEGIN TestTask */
	/* Infinite loop */
	for(;;)
	{
		osDelay(20);
	}
	/* USER CODE END TestTask */
}

void Error_Handler(void)
{
	__disable_irq();
	while (1) {
	}
}
